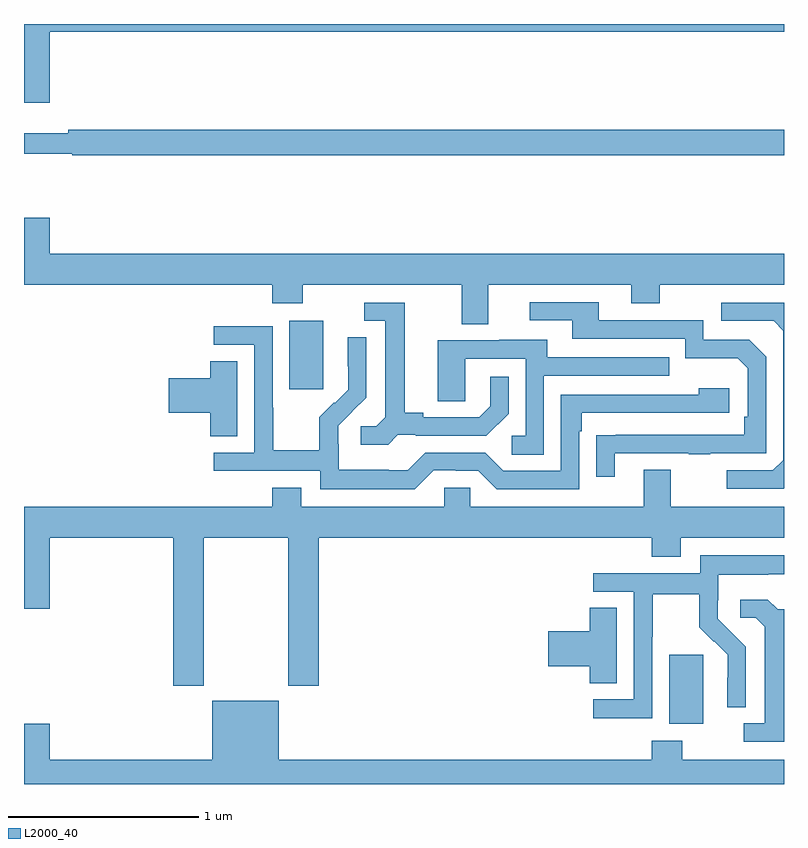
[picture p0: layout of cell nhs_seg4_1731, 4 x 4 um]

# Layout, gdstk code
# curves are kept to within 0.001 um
import gdstk
lib = gdstk.Library(unit=1e-6, precision=1e-09)
def R(c, l, rs):  # rectangles x0, y0, x1, y1
    for r in rs: c.add(gdstk.rectangle(r[:2], r[2:], *l))
def P(c, l, *ps):  # polygons
    for p in ps: c.add(gdstk.Polygon(p, *l))
L2000_40 = (2000, 40)

nhs_seg4_1731 = lib.new_cell('nhs_seg4_1731')
R(nhs_seg4_1731, L2000_40, [(204.395,753.218,204.574,753.579), (202.397,754.977,202.576,755.338)])
P(nhs_seg4_1731, L2000_40, [(201.136,756.86),(205,756.86),(205,756.9),(201,756.9),(201,756.486),(201.136,756.486)],
  [(205,756.344),(201.232,756.344),(201.232,756.325),(201,756.325),(201,756.216),(201.255,756.216),(201.255,756.208),(205,756.208)],
  [(203.443,755.528),(204.197,755.528),(204.197,755.429),(204.345,755.429),(204.345,755.528),(205,755.528),(205,755.692),(201.136,755.692),(201.136,755.881),(201,755.881),(201,755.528),(202.307,755.528),(202.307,755.429),(202.467,755.429),(202.467,755.528),(203.303,755.528),(203.303,755.32),(203.443,755.32)],
  [(204.109,754.641),(204.499,754.641),(204.499,754.636),(204.611,754.636),(204.611,754.641),(204.906,754.641),(204.906,755.148),(204.816,755.238),(204.576,755.238),(204.576,755.34),(204.025,755.34),(204.025,755.436),(203.661,755.436),(203.661,755.34),(203.885,755.34),(203.885,755.244),(204.48,755.244),(204.48,755.141),(204.757,755.141),(204.81,755.088),(204.81,754.834),(204.79,754.834),(204.79,754.737),(204.013,754.736),(204.013,754.518),(204.109,754.518)],
  [(202.968,754.737),(203.062,754.737),(203.062,754.734),(203.434,754.734),(203.55,754.85),(203.55,755.044),(203.453,755.044),(203.453,754.887),(203.396,754.83),(203.101,754.83),(203.101,754.853),(203.005,754.853),(203.005,755.433),(202.791,755.433),(202.791,755.337),(202.901,755.337),(202.901,754.829),(202.854,754.782),(202.773,754.782),(202.773,754.685),(202.916,754.685)],
  [(205,754.456),(205,755.433),(204.669,755.433),(204.669,755.337),(204.945,755.337),(204.996,755.286),(204.996,754.605),(204.942,754.551),(204.699,754.551),(204.699,754.455),(204.999,754.455)],
  [(203.157,754.551),(203.273,754.551),(203.273,754.548),(203.391,754.548),(203.487,754.452),(203.922,754.452),(203.922,754.757),(203.935,754.757),(203.935,754.854),(204.712,754.854),(204.712,754.984),(204.551,754.984),(204.551,754.95),(203.826,754.95),(203.826,754.548),(203.523,754.548),(203.427,754.644),(203.112,754.644),(203.019,754.551),(202.919,754.551),(202.919,754.555),(202.656,754.555),(202.656,754.689),(202.654,754.689),(202.654,754.786),(202.8,754.934),(202.8,755.252),(202.704,755.252),(202.704,755.098),(202.706,755.098),(202.706,754.976),(202.635,754.905),(202.632,754.908),(202.555,754.831),(202.555,754.657),(202.311,754.657),(202.311,754.88),(202.308,754.88),(202.308,755.31),(201.999,755.31),(201.999,755.211),(202.212,755.211),(202.212,754.644),(201.999,754.644),(201.999,754.548),(202.56,754.548),(202.56,754.451),(203.057,754.451)],
  [(203.736,755.049),(204.395,755.049),(204.395,755.145),(203.755,755.145),(203.755,755.239),(203.501,755.239),(203.501,755.235),(203.177,755.235),(203.177,754.915),(203.322,754.915),(203.322,755.139),(203.64,755.139),(203.64,754.734),(203.568,754.734),(203.568,754.633),(203.736,754.633)],
  [(202.123,755.126),(201.98,755.126),(201.98,755.036),(201.762,755.036),(201.762,754.853),(201.98,754.853),(201.98,754.729),(202.123,754.729)],
  [(201.945,754.196),(202.39,754.196),(202.39,753.417),(202.55,753.417),(202.55,754.196),(204.305,754.196),(204.305,754.097),(204.457,754.097),(204.457,754.196),(205,754.196),(205,754.36),(204.403,754.36),(204.403,754.555),(204.263,754.555),(204.263,754.36),(203.349,754.36),(203.349,754.458),(203.211,754.458),(203.211,754.36),(202.459,754.36),(202.459,754.459),(202.307,754.459),(202.307,754.36),(201,754.36),(201,753.822),(201.136,753.822),(201.136,754.196),(201.785,754.196),(201.785,753.417),(201.945,753.417)],
  [(204.21,753.912),(204.21,753.345),(203.997,753.345),(203.997,753.247),(204.306,753.247),(204.306,753.676),(204.309,753.676),(204.309,753.9),(204.553,753.9),(204.553,753.725),(204.63,753.648),(204.633,753.651),(204.704,753.581),(204.704,753.458),(204.702,753.458),(204.702,753.304),(204.798,753.304),(204.798,753.622),(204.652,753.77),(204.652,753.867),(204.654,753.867),(204.654,754.001),(204.917,754.001),(204.917,754.005),(205,754.005),(205,754.105),(204.558,754.105),(204.558,754.008),(203.997,754.008),(203.997,753.912)],
  [(205,753.819),(204.966,753.819),(204.914,753.871),(204.771,753.871),(204.771,753.774),(204.852,753.774),(204.899,753.727),(204.899,753.219),(204.789,753.219),(204.789,753.123),(205,753.123)],
  [(204.121,753.827),(203.978,753.827),(203.978,753.704),(203.76,753.704),(203.76,753.521),(203.978,753.521),(203.978,753.43),(204.121,753.43)],
  [(205,753.028),(204.465,753.028),(204.465,753.127),(204.305,753.127),(204.305,753.028),(202.342,753.028),(202.342,753.337),(201.992,753.337),(201.992,753.028),(201.136,753.028),(201.136,753.217),(201,753.217),(201,752.9),(205,752.9)])

lib.write_gds('nhs_seg4_1731.gds')
